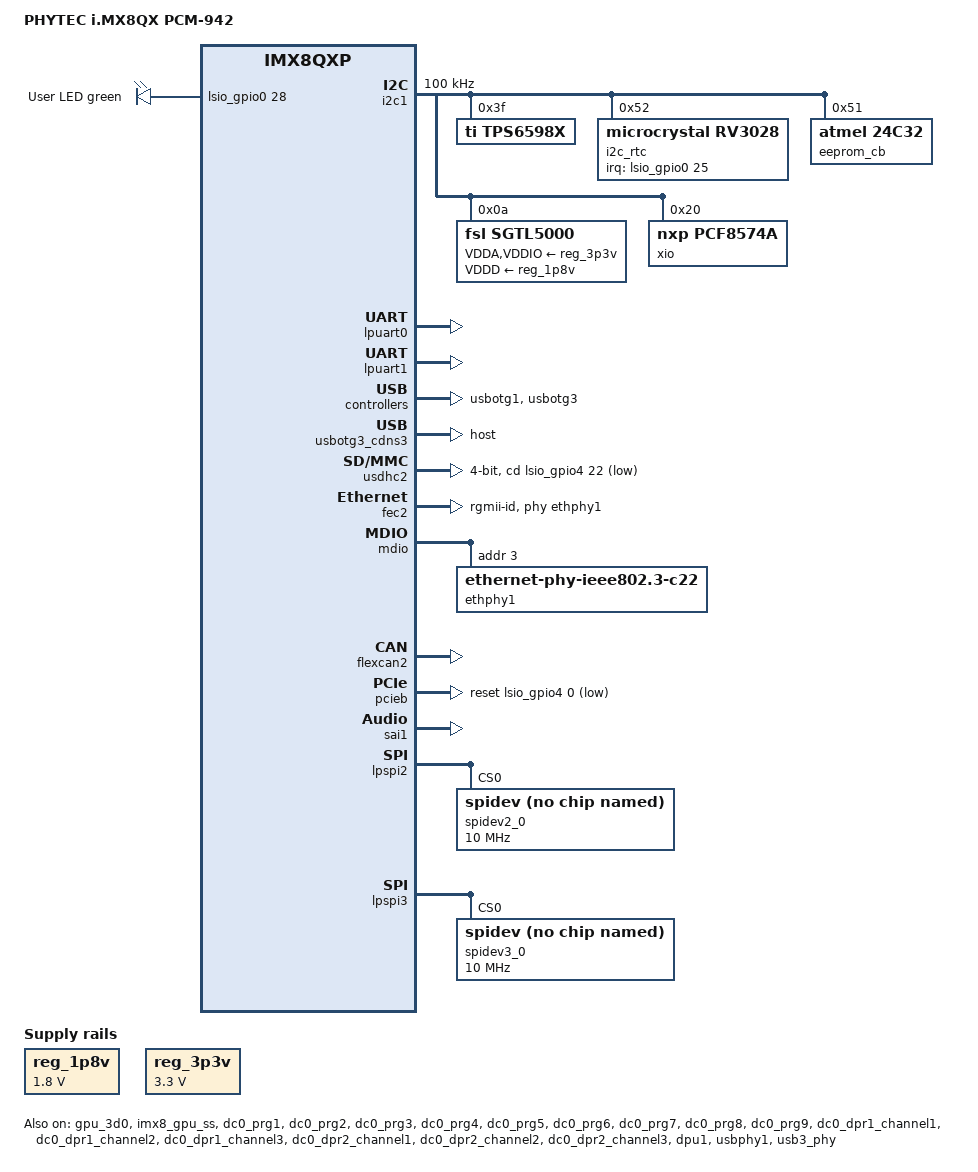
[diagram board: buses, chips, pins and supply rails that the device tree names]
// SPDX-License-Identifier: GPL-2.0+
/*
 * Copyright (C) 2018 PHYTEC Messtechnik GmbH
 *
 * Copyright (C) 2019-2021 PHYTEC America, LLC
 */

/dts-v1/;

#include "imx8qxp-phycore-som-emmc.dtsi"
#include <dt-bindings/leds/common.h>

/ {
	model = "PHYTEC i.MX8QX PCM-942";
	compatible = "phytec,imx8qxp-pcm-942", "phytec,imx8qxp-phycore-som", "fsl,imx8qxp";

	chosen {
		bootargs = "console=ttyLP0,115200 earlycon=lpuart32,0x5a060000,115200";
		stdout-path = &lpuart0;
	};

	leds {
		compatible = "gpio-leds";
		pinctrl-names = "default";
		pinctrl-0 = <&pinctrl_leds>;

		led-0 {
			label = "User LED";
			color = <LED_COLOR_ID_GREEN>;
			gpios = <&lsio_gpio0 28 GPIO_ACTIVE_HIGH>;
			linux,default-trigger = "heartbeat";
		};
	};

	reg_1p8v: regulator-1p8v {
		compatible = "regulator-fixed";
		regulator-name = "1P8V";
		regulator-min-microvolt = <1800000>;
		regulator-max-microvolt = <1800000>;
		regulator-always-on;
	};

	reg_3p3v: regulator-3p3v {
		compatible = "regulator-fixed";
		regulator-name = "3P3V";
		regulator-min-microvolt = <3300000>;
		regulator-max-microvolt = <3300000>;
		regulator-always-on;
	};

	reg_bt: regulator-bt {
		status = "disabled";
		compatible = "regulator-fixed";
		pinctrl-names = "default";
		pinctrl-0 = <&pinctrl_bt_en>;
		regulator-name = "bt";
		gpio = <&lsio_gpio4 20 GPIO_ACTIVE_HIGH>;
		enable-active-high;
		regulator-min-microvolt = <3300000>;
		regulator-max-microvolt = <3300000>;
		regulator-always-on;
	};

	sdio_pwrseq: sdio-pwrseq {
		status = "disabled";
		compatible = "mmc-pwrseq-simple";
		pinctrl-names = "default";
		pinctrl-0 = <&pinctrl_wifi_en>;
		reset-gpios = <&lsio_gpio4 19 GPIO_ACTIVE_LOW>;
	};

	sound {
		compatible = "simple-audio-card";
		simple-audio-card,format = "i2s";
		simple-audio-card,bitclock-master = <&dailink0_master>;
		simple-audio-card,frame-master = <&dailink0_master>;
		simple-audio-card,name = "imx8qxp-sgtl5000";

		simple-audio-card,cpu {
			sound-dai = <&sai1>;
		};

		dailink0_master: simple-audio-card,codec {
			sound-dai = <&sgtl5000>;
			clocks = <&mclkout0_lpcg 0>;
		};
	};
};

&i2c1 {
	#address-cells = <1>;
	#size-cells = <0>;
	clock-frequency = <100000>;
	pinctrl-names = "default";
	pinctrl-0 = <&pinctrl_lpi2c1>;
	status = "okay";

	tps6598x: tps6598x@3f {
		compatible = "ti,tps6598x";
		reg = <0x3f>;
	};

	i2c_rtc: rtc@52 {
		compatible = "microcrystal,rv3028";
		reg = <0x52>;
		pinctrl-names = "default";
		pinctrl-0 = <&pinctrl_i2crtc>;
		interrupt-parent = <&lsio_gpio0>;
		interrupts = <25 IRQ_TYPE_LEVEL_LOW>;
		backup-switchover-mode = <0x1>;
		status = "okay";
	};

	eeprom_cb: eeprom@51 {
		compatible = "atmel,24c32";
		pagesize = <32>;
		reg = <0x51>;
		status = "okay";
	};

	sgtl5000: codec@a {
		#sound-dai-cells = <0>;
		compatible = "fsl,sgtl5000";
		reg = <0xa>;
		assigned-clocks = <&clk IMX_SC_R_AUDIO_PLL_0 IMX_SC_PM_CLK_PLL>,
				<&clk IMX_SC_R_AUDIO_PLL_0 IMX_SC_PM_CLK_SLV_BUS>,
				<&clk IMX_SC_R_AUDIO_PLL_0 IMX_SC_PM_CLK_MST_BUS>,
				<&mclkout0_lpcg 0>;
		assigned-clock-rates = <786432000>, <49152000>, <12000000>, <12000000>;
		clocks = <&mclkout0_lpcg 0>;
		clock-names = "mclk";
		VDDA-supply = <&reg_3p3v>;
		VDDIO-supply = <&reg_3p3v>;
		VDDD-supply = <&reg_1p8v>;
	};

	xio: gpio@20 {
		compatible = "nxp,pcf8574a";
		reg = <0x20>;
		gpio-controller;
		#gpio-cells = <2>;
	};
};

&lpuart0 {
	pinctrl-names = "default";
	pinctrl-0 = <&pinctrl_lpuart0>;
	status = "okay";
};

&lpuart1 {
	pinctrl-names = "default";
	pinctrl-0 = <&pinctrl_lpuart1>;
	status = "okay";
};

&gpu_3d0 {
	status = "okay";
};

&imx8_gpu_ss {
	status = "okay";
};

&dc0_prg1 {
	status = "okay";
};

&dc0_prg2 {
	status = "okay";
};

&dc0_prg3 {
	status = "okay";
};

&dc0_prg4 {
	status = "okay";
};

&dc0_prg5 {
	status = "okay";
};

&dc0_prg6 {
	status = "okay";
};

&dc0_prg7 {
	status = "okay";
};

&dc0_prg8 {
	status = "okay";
};

&dc0_prg9 {
	status = "okay";
};

&dc0_dpr1_channel1 {
	status = "okay";
};

&dc0_dpr1_channel2 {
	status = "okay";
};

&dc0_dpr1_channel3 {
	status = "okay";
};

&dc0_dpr2_channel1 {
	status = "okay";
};

&dc0_dpr2_channel2 {
	status = "okay";
};

&dc0_dpr2_channel3 {
	status = "okay";
};

&dpu1 {
	status = "okay";
};

&usbphy1 {
	status = "okay";
};

&usbotg1 {
	pinctrl-names = "default";
	pinctrl-0 = <&pinctrl_usbotg1>;
	srp-disable;
	hnp-disable;
	adp-disable;
	power-active-high;
	disable-over-current;
	status = "okay";
};

&usb3_phy {
	status = "okay";
};

&usbotg3 {
	status = "okay";
};

&usbotg3_cdns3 {
	dr_mode = "host";
	usb-role-switch;
	status = "okay";
};

&usdhc2 {
	pinctrl-names = "default", "state_100mhz", "state_200mhz";
	pinctrl-0 = <&pinctrl_usdhc2_sd>, <&pinctrl_usdhc2_gpio>;
	pinctrl-1 = <&pinctrl_usdhc2_sd>, <&pinctrl_usdhc2_gpio>;
	pinctrl-2 = <&pinctrl_usdhc2_sd>, <&pinctrl_usdhc2_gpio>;
	bus-width = <4>;
	no-1-8-v;
	cd-gpios = <&lsio_gpio4 22 GPIO_ACTIVE_LOW>;
	status = "okay";
};

&fec2 {
	pinctrl-names = "default";
	pinctrl-0 = <&pinctrl_fec2>;
	phy-mode = "rgmii-id";
	phy-handle = <&ethphy1>;
	fsl,magic-packet;
	nvmem-cells = <&fec_mac1>;
	nvmem-cell-names = "mac-address";
	status = "okay";
};

&mdio {
	ethphy1: ethernet-phy@3 {
		compatible = "ethernet-phy-ieee802.3-c22";
		reg = <3>;
		ti,rx-internal-delay = <DP83867_RGMIIDCTL_2_50_NS>;
		ti,tx-internal-delay = <DP83867_RGMIIDCTL_2_50_NS>;
		ti,fifo-depth = <DP83867_PHYCR_FIFO_DEPTH_8_B_NIB>;
		ti,led-0-active-low;
		ti,led-2-active-low;
		enet-phy-lane-no-swap;
	};
};

&flexcan2 {
	pinctrl-names = "default";
	pinctrl-0 = <&pinctrl_flexcan2>;
	status = "okay";
};

&i2c0_mipi_lvds0 {
	pinctrl-names = "default";
	pinctrl-0 = <&pinctrl_i2c0_mipi_lvds0>;
	clock-frequency = <100000>;
	status = "disabled";
};

&i2c0_mipi_lvds1 {
	pinctrl-names = "default";
	pinctrl-0 = <&pinctrl_i2c0_mipi_lvds1>;
	clock-frequency = <100000>;
	status = "disabled";
};

&ldb1_phy {
	status = "disabled";
};

&ldb2_phy {
	status = "disabled";
};

&ldb1 {
	status = "disabled";
};

&ldb2 {
	status = "disabled";
};

&dc0_pc {
	status = "disabled";
};

&pcieb{
	compatible = "fsl,imx8qxp-pcie","snps,dw-pcie";
	pinctrl-names = "default";
	pinctrl-0 = <&pinctrl_pcieb>;
	reset-gpio = <&lsio_gpio4 0 GPIO_ACTIVE_LOW>;
	ext_osc = <1>;
	status = "okay";
};

&sai1 {
	#sound-dai-cells = <0>;
	pinctrl-names = "default";
	pinctrl-0 = <&pinctrl_sai1>;
	status = "okay";
};

&lpspi2 {
	fsl,spi-num-chipselects = <1>;
	pinctrl-names = "default";
	pinctrl-0 = <&pinctrl_lpspi2>;
	status = "okay";

	spidev2_0: spi2@0 {
		reg = <0>;
		compatible = "rohm,dh2228fv";
		spi-max-frequency = <10000000>;
	};
};

&lpspi3 {
	fsl,spi-num-chipselects = <1>;
	pinctrl-names = "default";
	pinctrl-0 = <&pinctrl_lpspi3>;
	status = "okay";

	spidev3_0: spi3@0 {
		reg = <0>;
		compatible = "rohm,dh2228fv";
		spi-max-frequency = <10000000>;
	};
};

&iomuxc {
	pinctrl-names = "default";
	pinctrl-0 = <&pinctrl_hog>;

	pcm942 {
		pinctrl_hog: hoggrp {
			fsl,pins = <
				IMX8QXP_SAI1_RXC_LSIO_GPIO0_IO30       0x06000021	 /* USBOTG1 Port Select */
				IMX8QXP_MCLK_OUT0_ADMA_ACM_MCLK_OUT0   0x0600004c	 /* Audio Clock*/
				IMX8QXP_SAI1_RXFS_LSIO_GPIO0_IO31      0x06000021	 /* CAN Fault */
				IMX8QXP_SPI0_CS1_LSIO_GPIO1_IO07       0x06000021	 /* ETH1 OR Gate */
			>;
		};

		pinctrl_leds: leds1grp {
			fsl,pins = <
				IMX8QXP_SAI0_TXFS_LSIO_GPIO0_IO28      0x06000021	 /* User LED */
			>;
		};


		pinctrl_i2crtc: i2crtcgrp {
			fsl,pins = <
				IMX8QXP_SAI0_TXD_LSIO_GPIO0_IO25        0x06000021
			>;
		};


		pinctrl_fec2: fec2grp {
			fsl,pins = <
				IMX8QXP_ESAI0_SCKR_CONN_ENET1_RGMII_TX_CTL	   0x06000020
				IMX8QXP_ESAI0_FSR_CONN_ENET1_RGMII_TXC		   0x06000020
				IMX8QXP_ESAI0_TX4_RX1_CONN_ENET1_RGMII_TXD0	   0x06000020
				IMX8QXP_ESAI0_TX5_RX0_CONN_ENET1_RGMII_TXD1	   0x06000020
				IMX8QXP_ESAI0_FST_CONN_ENET1_RGMII_TXD2		   0x06000020
				IMX8QXP_ESAI0_SCKT_CONN_ENET1_RGMII_TXD3	   0x06000020
				IMX8QXP_ESAI0_TX0_CONN_ENET1_RGMII_RXC		   0x06000020
				IMX8QXP_SPDIF0_TX_CONN_ENET1_RGMII_RX_CTL	   0x06000020
				IMX8QXP_SPDIF0_RX_CONN_ENET1_RGMII_RXD0		   0x06000020
				IMX8QXP_ESAI0_TX3_RX2_CONN_ENET1_RGMII_RXD1	   0x06000020
				IMX8QXP_ESAI0_TX2_RX3_CONN_ENET1_RGMII_RXD2	   0x06000020
				IMX8QXP_ESAI0_TX1_CONN_ENET1_RGMII_RXD3		   0x06000020
			>;
		};

		pinctrl_flexcan2: flexcan1grp {
			fsl,pins = <
				IMX8QXP_UART2_TX_ADMA_FLEXCAN1_TX		0x10000021
				IMX8QXP_UART2_RX_ADMA_FLEXCAN1_RX		0x10000021
			>;
		};

		pinctrl_lpi2c1: lpi1cgrp {
			fsl,pins = <
				IMX8QXP_USB_SS3_TC1_ADMA_I2C1_SCL	0x06000020
				IMX8QXP_USB_SS3_TC3_ADMA_I2C1_SDA	0x06000020
			>;
		};

		pinctrl_lpuart0: lpuart0grp {
			fsl,pins = <
				IMX8QXP_UART0_RX_ADMA_UART0_RX	0x0600002c
				IMX8QXP_UART0_TX_ADMA_UART0_TX	0x0600002c
			>;
		};

		pinctrl_lpuart1: lpuart1grp {
			fsl,pins = <
				IMX8QXP_UART1_TX_ADMA_UART1_TX	   0x06000020
				IMX8QXP_UART1_RX_ADMA_UART1_RX	   0x06000020
			>;
		};

		pinctrl_lpuart1_rtscts: lpuart1rtsctsgrp {
			fsl,pins = <
				IMX8QXP_UART1_RTS_B_ADMA_UART1_RTS_B     0x06000020
				IMX8QXP_UART1_CTS_B_ADMA_UART1_CTS_B     0x06000020
			>;
		};

		pinctrl_usdhc2_gpio: usdhc2gpiogrp {
			fsl,pins = <
				IMX8QXP_USDHC1_CD_B_LSIO_GPIO4_IO22	0x06000020
			>;
		};

		pinctrl_usdhc2_sd: usdhc2sdgrp {
			fsl,pins = <
				IMX8QXP_USDHC1_CLK_CONN_USDHC1_CLK	0x06000040
				IMX8QXP_USDHC1_CMD_CONN_USDHC1_CMD	0x06000060
				IMX8QXP_USDHC1_DATA0_CONN_USDHC1_DATA0	0x06000060
				IMX8QXP_USDHC1_DATA1_CONN_USDHC1_DATA1	0x06000060
				IMX8QXP_USDHC1_DATA2_CONN_USDHC1_DATA2	0x06000060
				IMX8QXP_USDHC1_DATA3_CONN_USDHC1_DATA3	0x06000060
			>;
		};

		pinctrl_usdhc2_wifi: usdhc2wifigrp {
			fsl,pins = <
				IMX8QXP_USDHC1_CLK_CONN_USDHC1_CLK      0x06000040
				IMX8QXP_USDHC1_CMD_CONN_USDHC1_CMD      0x06000020
				IMX8QXP_USDHC1_DATA0_CONN_USDHC1_DATA0  0x06000020
				IMX8QXP_USDHC1_DATA1_CONN_USDHC1_DATA1  0x06000020
				IMX8QXP_USDHC1_DATA2_CONN_USDHC1_DATA2  0x06000020
				IMX8QXP_USDHC1_DATA3_CONN_USDHC1_DATA3  0x06000020
			>;
		};

		pinctrl_usbotg1: usbotg1 {
			fsl,pins = <
				IMX8QXP_USB_SS3_TC0_CONN_USB_OTG1_PWR	   0x00000021
			>;
		};

		pinctrl_i2c0_mipi_lvds0: mipi_lvds0_i2c0_grp {
			fsl,pins = <
				IMX8QXP_MIPI_DSI0_I2C0_SCL_MIPI_DSI0_I2C0_SCL	   0x06000020
				IMX8QXP_MIPI_DSI0_I2C0_SDA_MIPI_DSI0_I2C0_SDA	   0x06000020
			>;
		};

		pinctrl_i2c0_mipi_lvds1: mipi_lvds1_i2c0_grp {
			fsl,pins = <
				IMX8QXP_MIPI_DSI1_I2C0_SCL_MIPI_DSI1_I2C0_SCL	   0x06000020
				IMX8QXP_MIPI_DSI1_I2C0_SDA_MIPI_DSI1_I2C0_SDA	   0x06000020
			>;
		};

		pinctrl_lvds0: lvds0grp {
			fsl,pins = <
				IMX8QXP_MIPI_DSI0_GPIO0_01_LSIO_GPIO1_IO28 0x06000021
			>;
		};

		pinctrl_lvds1: lvds1grp {
			fsl,pins = <
				IMX8QXP_MIPI_DSI1_GPIO0_01_LSIO_GPIO2_IO00 0x06000021
			>;
		};

		pinctrl_pcieb: pcieagrp{
			fsl,pins = <
				IMX8QXP_PCIE_CTRL0_PERST_B_LSIO_GPIO4_IO00    0x06000021
				IMX8QXP_PCIE_CTRL0_CLKREQ_B_LSIO_GPIO4_IO01   0x06000021
				IMX8QXP_PCIE_CTRL0_WAKE_B_LSIO_GPIO4_IO02     0x04000021
			>;
		};

		pinctrl_sai1: sai1grp {
			fsl,pins = <
				IMX8QXP_FLEXCAN1_TX_ADMA_SAI1_RXD     0x06000040
				IMX8QXP_FLEXCAN1_RX_ADMA_SAI1_TXD     0x06000060
				IMX8QXP_FLEXCAN0_TX_ADMA_SAI1_TXFS    0x06000040
				IMX8QXP_FLEXCAN0_RX_ADMA_SAI1_TXC     0x06000040
			>;
		};

		pinctrl_lpspi2: lpspi2grp {
			fsl,pins = <
				IMX8QXP_SPI2_SCK_ADMA_SPI2_SCK          0x600004c
				IMX8QXP_SPI2_SDO_ADMA_SPI2_SDO          0x600004c
				IMX8QXP_SPI2_SDI_ADMA_SPI2_SDI          0x600004c
				IMX8QXP_SPI2_CS0_ADMA_SPI2_CS0          0x600004c
			>;
		};

		pinctrl_lpspi3: lpspi3grp {
			fsl,pins = <
				IMX8QXP_SPI3_SCK_ADMA_SPI3_SCK          0x600004c
				IMX8QXP_SPI3_SDO_ADMA_SPI3_SDO          0x600004c
				IMX8QXP_SPI3_SDI_ADMA_SPI3_SDI          0x600004c
				IMX8QXP_SPI3_CS0_ADMA_SPI3_CS0          0x600004c
				IMX8QXP_SPI3_CS1_ADMA_SPI3_CS1          0x600004c
			>;
		};

		pinctrl_bt_en: btengpiogrp {
			fsl,pins = <
				IMX8QXP_USDHC1_VSELECT_LSIO_GPIO4_IO20	0x06000060
			>;
		};

		pinctrl_wifi_en: wifiengpiogrp {
			fsl,pins = <
				IMX8QXP_USDHC1_RESET_B_LSIO_GPIO4_IO19	0x06000060
			>;
		};
	};
};
